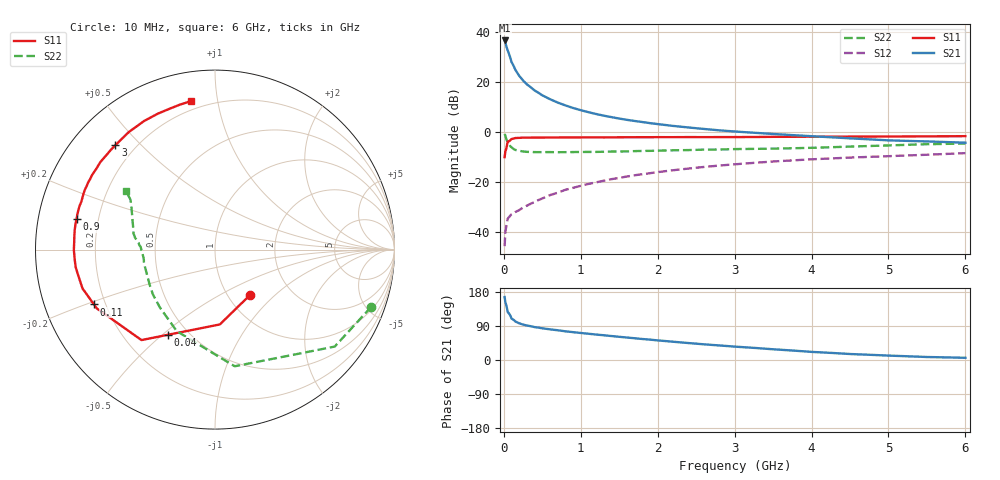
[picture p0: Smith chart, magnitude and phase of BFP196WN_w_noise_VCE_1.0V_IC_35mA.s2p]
! Infineon Technologies  Discrete & RF Semiconductors
! BFP196WN
! VCE =  1.0 V,  IC =  35 mA
! Common Emitter S-Parameters:  Jan 2017
# GHz  S  MA  R  50
!  f  S11  S21  S12  S22
! GHz  MAG  ANG  MAG  ANG  MAG  ANG  MAG  ANG
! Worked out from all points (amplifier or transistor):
!   77 points, 10 MHz to 6 GHz, reference 50 ohm
!   highest |S21| = 36.7 dB at 10 MHz (marker M1)
!   |S21| within 3 dB of that: start of sweep to 39.42 MHz
!   unconditionally stable (mu >= 1): 650.7 MHz to 3.212 GHz
!   at 130 MHz: K = 0.48, MSG = 29.3 dB, |S12| = -32.2 dB
!   at 2.2 GHz: K = 1.03, MAG = 7.7 dB, |S12| = -15.2 dB
!   at 6 GHz: K = 0.95, MSG = 2.1 dB, |S12| = -8.3 dB
!   lowest NFmin = 1.11 dB at 450 MHz
!   S11 on the Smith chart (normalised r, x): 10 MHz: 1.26, -0.71; 40 MHz: 0.39, -0.52; 110 MHz: 0.16, -0.21; 900 MHz: 0.12, +0.11; 3 GHz: 0.13, +0.42; 6 GHz: 0.15, +0.84
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0.01  0.3195 -52.3  68.6 166.2  0.0053 77.2  0.9268 -20.2
0.02  0.4178 -86.3  61.57 152.5  0.0101 65.9  0.8584 -39.0
0.04  0.5436 -119.1  48.23 137.4  0.0157 50.9  0.681 -64.3
0.05  0.6496 -129.1  43.35 126.8  0.0187 46.9  0.6593 -80.4
0.1  0.7353 -153.5  25.44 109.4  0.0231 41.3  0.5017 -115.2
0.11  0.7402 -155.6  23.87 108.2  0.0236 41.5  0.4866 -118.5
0.15  0.7691 -163.6  17.73 101.5  0.0256 42.0  0.4451 -133.6
0.2  0.7752 -169.1  13.46 96.8  0.0279 44.9  0.4267 -144.1
0.25  0.7823 -172.8  10.86 93.4  0.0315 48.1  0.4148 -150.8
0.3  0.7835 -175.7  9.092 91.0  0.0342 50.6  0.4071 -156.0
0.4  0.7864 -179.9  6.862 86.8  0.0407 55.8  0.4024 -162.2
0.5  0.7856 177.0  5.495 83.7  0.0477 58.8  0.402 -166.6
0.7  0.7892 172.0  3.937 78.5  0.0621 62.5  0.4003 -172.1
0.9  0.7897 167.5  3.066 73.5  0.0777 63.8  0.403 -175.3
1.1  0.7923 163.9  2.526 69.3  0.093 64.5  0.4055 -178.1
1.5  0.7957 157.1  1.883 61.2  0.1228 63.4  0.4138 178.1
2.1  0.8004 147.3  1.401 50.0  0.1673 59.8  0.4335 174.2
3  0.8041 133.6  1.039 35.3  0.2293 52.5  0.4621 169.1
3.1  0.8046 132.1  1.015 34.0  0.2356 51.5  0.4639 168.3
4.1  0.8182 117.6  0.821 20.4  0.2933 42.7  0.4953 158.5
5.1  0.8258 106.7  0.684 10.9  0.3381 35.1  0.5536 149.0
6  0.8386 99.1  0.62 5.8  0.3835 29.1  0.5964 146.6
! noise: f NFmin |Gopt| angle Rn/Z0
0.45  1.11  0.47  179  0.05
0.9  1.24  0.53  186  0.05
1.9  2.17  0.68  212  0.13
2.4  2.91  0.69  219  0.25
